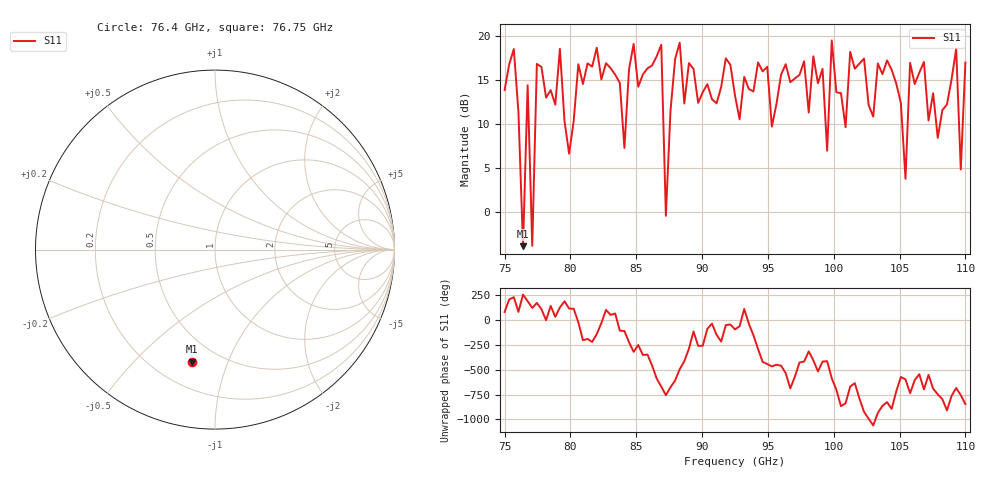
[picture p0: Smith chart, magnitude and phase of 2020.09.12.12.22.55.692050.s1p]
!Created with skrf (http://scikit-rf.org).
# GHz S RI R 50.0
!freq ReS11 ImS11
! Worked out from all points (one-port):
!   101 points, 75 GHz to 110 GHz, reference 50 ohm
!   lowest |S11| = -3.9 dB at 76.4 GHz (marker M1), VSWR 4.52, Z = 17.8 - j37.5 ohm
!   |S11| at or under -10 dB: nowhere
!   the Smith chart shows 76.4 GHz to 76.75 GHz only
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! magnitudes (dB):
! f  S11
! 75 GHz  13.9
! 75.7 GHz  18.5
! 76.4 GHz  -3.9
! 76.75 GHz  14.4
! 77.1 GHz  -3.9
! 77.45 GHz  16.8
! 79.2 GHz  18.5
! 79.55 GHz  10.3
! 83.75 GHz  14.7
! 84.1 GHz  7.3
! 84.8 GHz  19.1
! 86.9 GHz  19.0
! 87.25 GHz  -0.5
! 88.3 GHz  19.2
! 92.5 GHz  13.2
! 97.05 GHz  15.2
! 99.15 GHz  16.3
! 99.5 GHz  6.9
! 99.85 GHz  19.5
! 100.9 GHz  9.6
! 101.2 GHz  18.2
! 104.4 GHz  16.2
! 105.5 GHz  3.8
! 105.8 GHz  16.9
! 107.9 GHz  8.4
! 109.3 GHz  18.5
! 109.7 GHz  4.8
! 110 GHz  17.0
